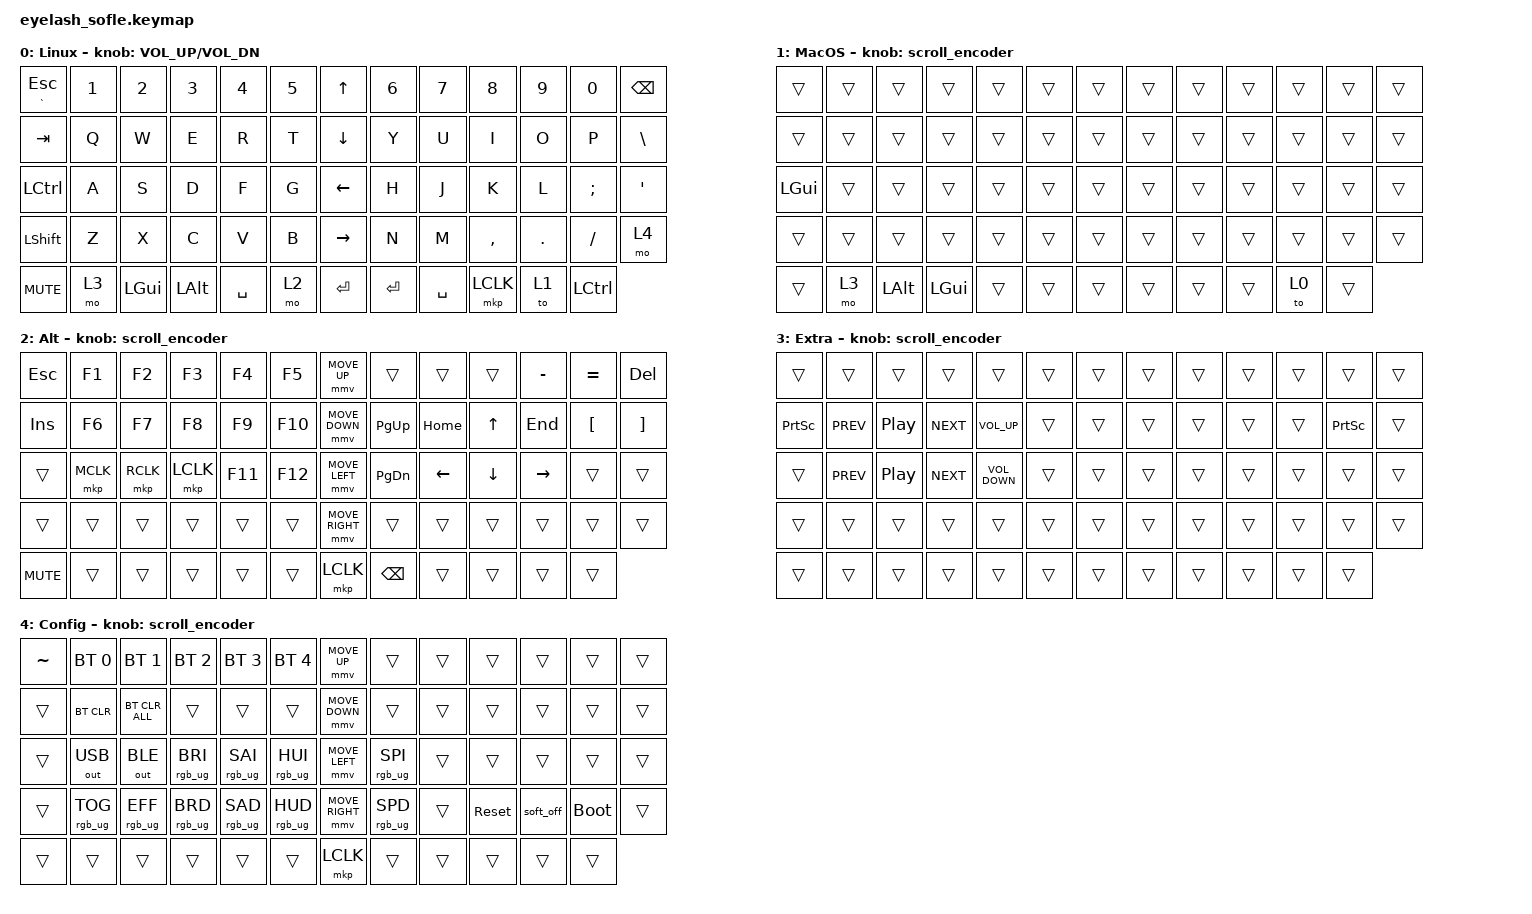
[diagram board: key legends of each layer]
#define ZMK_POINTING_DEFAULT_MOVE_VAL 1200  // 600
#define ZMK_POINTING_DEFAULT_SCRL_VAL 25   // 10

#include <input/processors.dtsi>
#include <zephyr/dt-bindings/input/input-event-codes.h>
#include <behaviors.dtsi>
#include <dt-bindings/zmk/bt.h>
#include <dt-bindings/zmk/keys.h>
#include <dt-bindings/zmk/outputs.h>
#include <dt-bindings/zmk/pointing.h>
#include <dt-bindings/zmk/rgb.h>

&mmv_input_listener { input-processors = <&zip_xy_scaler 2 1>; };

&msc_input_listener { input-processors = <&zip_scroll_scaler 2 1>; };

&msc {
    acceleration-exponent = <1>;      // 0
    time-to-max-speed-ms = <100>;       // 300
    delay-ms = <0>;                   // 0
};

&mmv {
    time-to-max-speed-ms = <500>;
    acceleration-exponent = <1>;
    trigger-period-ms = <16>;
};

&soft_off { hold-time-ms = <2000>; };

/ {
    scroll_encoder: scroll_encoder {
        compatible = "zmk,behavior-sensor-rotate";
        #sensor-binding-cells = <0>;
        bindings = <&msc SCRL_DOWN>, <&msc SCRL_UP>;

        tap-ms = <100>;
    };

    behaviors {
    };

    combos {
        compatible = "zmk,combos";

        softoff {
            bindings = <&soft_off>;
            key-positions = <14 28 40>;
        };
    };

    macros {
        SHIFT_MCLK: SHIFT_MCLK {
            compatible = "zmk,behavior-macro";
            #binding-cells = <0>;
            bindings =
                <&macro_press>,
                <&kp LEFT_SHIFT>,
                <&macro_press>,
                <&mkp MB3>,
                <&macro_pause_for_release>,
                <&macro_release>,
                <&kp LEFT_SHIFT &mkp MB3>;

            label = "SHIFT_MCLK";
        };
    };

    keymap {
        compatible = "zmk,keymap";

        Linux {
            bindings = <
&mt GRAVE ESC     &kp N1  &kp N2        &kp N3        &kp N4     &kp N5    &kp UP_ARROW     &kp N6     &kp N7     &kp N8     &kp N9   &kp N0            &kp BACKSPACE
&kp TAB           &kp Q   &kp W         &kp E         &kp R      &kp T     &kp DOWN_ARROW   &kp Y      &kp U      &kp I      &kp O    &kp P             &kp BSLH
&kp LEFT_CONTROL  &kp A   &kp S         &kp D         &kp F      &kp G     &kp LEFT_ARROW   &kp H      &kp J      &kp K      &kp L    &kp SEMI          &kp APOS
&kp LSHFT         &kp Z   &kp X         &kp C         &kp V      &kp B     &kp RIGHT_ARROW  &kp N      &kp M      &kp COMMA  &kp DOT  &kp FSLH          &mo 4
&kp C_MUTE        &mo 3   &kp LEFT_GUI  &kp LEFT_ALT  &kp SPACE  &mo 2     &kp ENTER        &kp ENTER  &kp SPACE  &mkp LCLK  &to 1    &kp LEFT_CONTROL
            >;

            sensor-bindings = <&inc_dec_kp C_VOLUME_UP C_VOL_DN>;
            display-name = "Linux";
        };

        MacOS {
            bindings = <
&trans        &trans  &trans        &trans        &trans  &trans    &trans  &trans  &trans  &trans  &trans  &trans  &trans
&trans        &trans  &trans        &trans        &trans  &trans    &trans  &trans  &trans  &trans  &trans  &trans  &trans
&kp LEFT_GUI  &trans  &trans        &trans        &trans  &trans    &trans  &trans  &trans  &trans  &trans  &trans  &trans
&trans        &trans  &trans        &trans        &trans  &trans    &trans  &trans  &trans  &trans  &trans  &trans  &trans
&trans        &mo 3   &kp LEFT_ALT  &kp LEFT_GUI  &trans  &trans    &trans  &trans  &trans  &trans  &to 0   &trans
            >;

            display-name = "MacOS";
            sensor-bindings = <&scroll_encoder>;
        };

        Alt {
            bindings = <
&kp ESC     &kp F1     &kp F2     &kp F3     &kp F4   &kp F5     &mmv MOVE_UP     &trans         &trans    &trans        &kp MINUS  &kp EQUAL         &kp DELETE
&kp INS     &kp F6     &kp F7     &kp F8     &kp F9   &kp F10    &mmv MOVE_DOWN   &kp PG_UP      &kp HOME  &kp UP_ARROW  &kp END    &kp LEFT_BRACKET  &kp RIGHT_BRACKET
&trans      &mkp MCLK  &mkp RCLK  &mkp LCLK  &kp F11  &kp F12    &mmv MOVE_LEFT   &kp PG_DN      &kp LEFT  &kp DOWN      &kp RIGHT  &trans            &trans
&trans      &trans     &trans     &trans     &trans   &trans     &mmv MOVE_RIGHT  &trans         &trans    &trans        &trans     &trans            &trans
&kp C_MUTE  &trans     &trans     &trans     &trans   &trans     &mkp LCLK        &kp BACKSPACE  &trans    &trans        &trans     &trans
            >;

            display-name = "Alt";
            sensor-bindings = <&scroll_encoder>;
        };

        Extra {
            bindings = <
&trans     &trans      &trans            &trans      &trans             &trans    &trans  &trans  &trans  &trans  &trans  &trans     &trans
&kp PSCRN  &kp C_PREV  &kp C_PLAY_PAUSE  &kp C_NEXT  &kp C_VOLUME_UP    &trans    &trans  &trans  &trans  &trans  &trans  &kp PSCRN  &trans
&trans     &kp C_PREV  &kp C_PP          &kp C_NEXT  &kp C_VOLUME_DOWN  &trans    &trans  &trans  &trans  &trans  &trans  &trans     &trans
&trans     &trans      &trans            &trans      &trans             &trans    &trans  &trans  &trans  &trans  &trans  &trans     &trans
&trans     &trans      &trans            &trans      &trans             &trans    &trans  &trans  &trans  &trans  &trans  &trans
            >;

            display-name = "Extra";
            sensor-bindings = <&scroll_encoder>;
        };

        Config {
            bindings = <
&kp TILDE  &bt BT_SEL 0     &bt BT_SEL 1     &bt BT_SEL 2     &bt BT_SEL 3     &bt BT_SEL 4       &mmv MOVE_UP     &trans           &trans  &trans      &trans     &trans       &trans
&trans     &bt BT_CLR       &bt BT_CLR_ALL   &trans           &trans           &trans             &mmv MOVE_DOWN   &trans           &trans  &trans      &trans     &trans       &trans
&trans     &out OUT_USB     &out OUT_BLE     &rgb_ug RGB_BRI  &rgb_ug RGB_SAI  &rgb_ug RGB_HUI    &mmv MOVE_LEFT   &rgb_ug RGB_SPI  &trans  &trans      &trans     &trans       &trans
&trans     &rgb_ug RGB_TOG  &rgb_ug RGB_EFF  &rgb_ug RGB_BRD  &rgb_ug RGB_SAD  &rgb_ug RGB_HUD    &mmv MOVE_RIGHT  &rgb_ug RGB_SPD  &trans  &sys_reset  &soft_off  &bootloader  &trans
&trans     &trans           &trans           &trans           &trans           &trans             &mkp LCLK        &trans           &trans  &trans      &trans     &trans
            >;

            display-name = "Config";
            sensor-bindings = <&scroll_encoder>;
        };
    };
};
